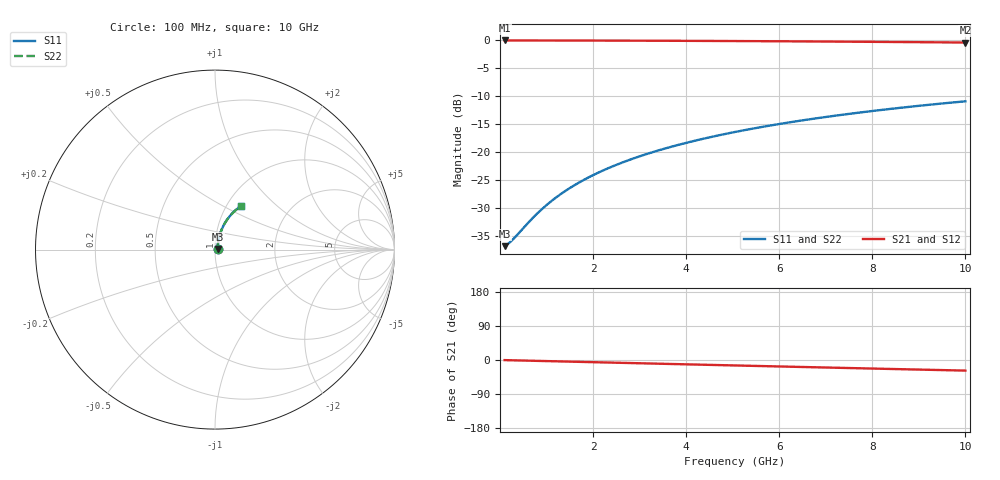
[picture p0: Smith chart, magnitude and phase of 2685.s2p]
# Hz S RI R 50.00
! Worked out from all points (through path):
!   100 points, 100 MHz to 10 GHz, reference 50 ohm
!   highest |S21| = -0.12 dB at 100 MHz (marker M1); lowest = -0.5 dB at 10 GHz (marker M2)
!   group delay of S21, straight-line fit = 7.78 ps
!   lowest |S11| = -36.8 dB at 100 MHz (marker M3), VSWR 1.03, Z = 51.4 + j0.303 ohm
!   |S11| at or under -10 dB: start of sweep to end of sweep
!   |S22| runs from -36.8 to -11.0 dB; largest |S21 - S12| = 0
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1e8  0.0141 0.00295  0.9859 -0.00494  0.9859 -0.00494  0.0141 0.00295
2e8  0.0142 0.00589  0.9858 -0.00988  0.9858 -0.00988  0.0142 0.00589
3e8  0.0143 0.00883  0.9856 -0.0148  0.9856 -0.0148  0.0143 0.00883
7e8  0.0151 0.0206  0.9848 -0.0345  0.9848 -0.0345  0.0151 0.0206
8e8  0.0154 0.0235  0.9845 -0.0395  0.9845 -0.0395  0.0154 0.0235
1e9  0.016 0.0294  0.9838 -0.0493  0.9838 -0.0493  0.016 0.0294
1.2e9  0.0167 0.0352  0.983 -0.0591  0.983 -0.0591  0.0167 0.0352
1.4e9  0.0175 0.041  0.9821 -0.0689  0.9821 -0.0689  0.0175 0.041
1.6e9  0.0184 0.0468  0.9811 -0.0787  0.9811 -0.0787  0.0184 0.0468
1.8e9  0.0194 0.0526  0.9799 -0.0885  0.9799 -0.0885  0.0194 0.0526
2.1e9  0.0212 0.0612  0.9779 -0.1031  0.9779 -0.1031  0.0212 0.0612
2.5e9  0.0239 0.0726  0.9748 -0.1225  0.9748 -0.1225  0.0239 0.0726
2.9e9  0.0271 0.0838  0.9711 -0.1417  0.9711 -0.1417  0.0271 0.0838
3.4e9  0.0317 0.0977  0.9659 -0.1655  0.9659 -0.1655  0.0317 0.0977
3.8e9  0.0359 0.1086  0.9612 -0.1844  0.9612 -0.1844  0.0359 0.1086
4.2e9  0.0404 0.1192  0.956 -0.2031  0.956 -0.2031  0.0404 0.1192
5.1e9  0.0522 0.1424  0.9425 -0.2443  0.9425 -0.2443  0.0522 0.1424
5.9e9  0.0642 0.1619  0.9287 -0.2799  0.9287 -0.2799  0.0642 0.1619
6.7e9  0.0776 0.1803  0.9132 -0.3143  0.9132 -0.3143  0.0776 0.1803
7.5e9  0.0923 0.1975  0.8962 -0.3476  0.8962 -0.3476  0.0923 0.1975
8.4e9  0.1101 0.2152  0.8754 -0.3835  0.8754 -0.3835  0.1101 0.2152
1e10  0.1448 0.2423  0.8345 -0.443  0.8345 -0.443  0.1448 0.2423
